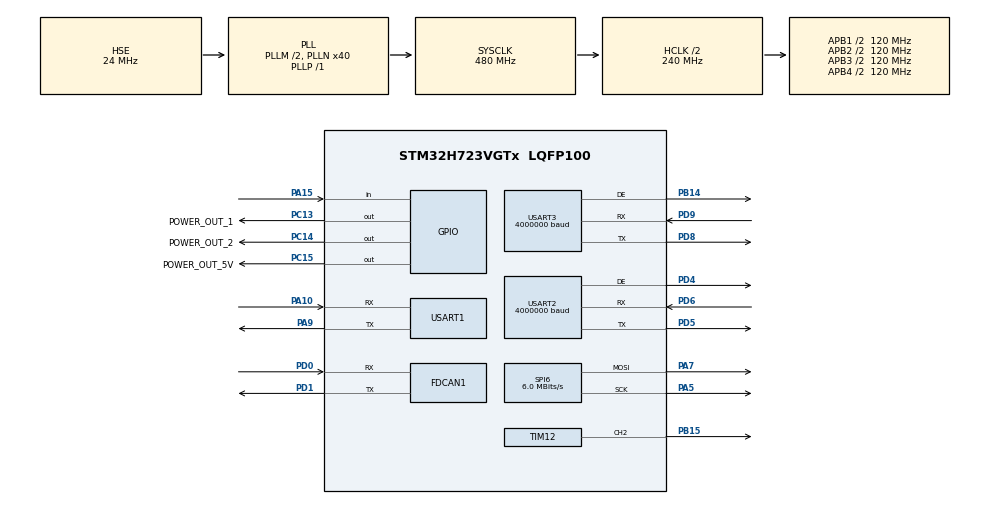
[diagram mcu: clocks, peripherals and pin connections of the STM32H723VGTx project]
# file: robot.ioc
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CORTEX_M7.default_mode_Activation=0
Dma.Request0=USART3_TX
Dma.Request1=USART2_TX
Dma.Request2=USART2_RX
Dma.Request3=USART3_RX
Dma.USART2_RX.2.Direction=DMA_PERIPH_TO_MEMORY
Dma.USART2_RX.2.EventEnable=DISABLE
Dma.USART2_RX.2.FIFOMode=DMA_FIFOMODE_DISABLE
Dma.USART2_RX.2.Instance=DMA1_Stream1
Dma.USART2_RX.2.MemDataAlignment=DMA_MDATAALIGN_BYTE
Dma.USART2_RX.2.MemInc=DMA_MINC_ENABLE
Dma.USART2_RX.2.Mode=DMA_NORMAL
Dma.USART2_RX.2.PeriphDataAlignment=DMA_PDATAALIGN_BYTE
Dma.USART2_RX.2.PeriphInc=DMA_PINC_DISABLE
Dma.USART2_RX.2.Polarity=HAL_DMAMUX_REQ_GEN_RISING
Dma.USART2_RX.2.Priority=DMA_PRIORITY_LOW
Dma.USART2_RX.2.RequestNumber=1
Dma.USART2_RX.2.SignalID=NONE
Dma.USART2_RX.2.SyncEnable=DISABLE
Dma.USART2_RX.2.SyncPolarity=HAL_DMAMUX_SYNC_NO_EVENT
Dma.USART2_RX.2.SyncRequestNumber=1
Dma.USART2_RX.2.SyncSignalID=NONE
Dma.USART2_TX.1.Direction=DMA_MEMORY_TO_PERIPH
Dma.USART2_TX.1.EventEnable=DISABLE
Dma.USART2_TX.1.FIFOMode=DMA_FIFOMODE_DISABLE
Dma.USART2_TX.1.Instance=DMA1_Stream3
Dma.USART2_TX.1.MemDataAlignment=DMA_MDATAALIGN_BYTE
Dma.USART2_TX.1.MemInc=DMA_MINC_ENABLE
Dma.USART2_TX.1.Mode=DMA_NORMAL
Dma.USART2_TX.1.PeriphDataAlignment=DMA_PDATAALIGN_BYTE
Dma.USART2_TX.1.PeriphInc=DMA_PINC_DISABLE
Dma.USART2_TX.1.Polarity=HAL_DMAMUX_REQ_GEN_RISING
Dma.USART2_TX.1.Priority=DMA_PRIORITY_LOW
Dma.USART2_TX.1.RequestNumber=1
Dma.USART2_TX.1.SignalID=NONE
Dma.USART2_TX.1.SyncEnable=DISABLE
Dma.USART2_TX.1.SyncPolarity=HAL_DMAMUX_SYNC_NO_EVENT
Dma.USART2_TX.1.SyncRequestNumber=1
Dma.USART2_TX.1.SyncSignalID=NONE
Dma.USART3_RX.3.Direction=DMA_PERIPH_TO_MEMORY
Dma.USART3_RX.3.EventEnable=DISABLE
Dma.USART3_RX.3.FIFOMode=DMA_FIFOMODE_DISABLE
Dma.USART3_RX.3.Instance=DMA2_Stream4
Dma.USART3_RX.3.MemDataAlignment=DMA_MDATAALIGN_BYTE
Dma.USART3_RX.3.MemInc=DMA_MINC_ENABLE
Dma.USART3_RX.3.Mode=DMA_NORMAL
Dma.USART3_RX.3.PeriphDataAlignment=DMA_PDATAALIGN_BYTE
Dma.USART3_RX.3.PeriphInc=DMA_PINC_DISABLE
Dma.USART3_RX.3.Polarity=HAL_DMAMUX_REQ_GEN_RISING
Dma.USART3_RX.3.Priority=DMA_PRIORITY_LOW
Dma.USART3_RX.3.RequestNumber=1
Dma.USART3_RX.3.SignalID=NONE
Dma.USART3_RX.3.SyncEnable=DISABLE
Dma.USART3_RX.3.SyncPolarity=HAL_DMAMUX_SYNC_NO_EVENT
Dma.USART3_RX.3.SyncRequestNumber=1
Dma.USART3_RX.3.SyncSignalID=NONE
Dma.USART3_TX.0.Direction=DMA_MEMORY_TO_PERIPH
Dma.USART3_TX.0.EventEnable=DISABLE
Dma.USART3_TX.0.FIFOMode=DMA_FIFOMODE_DISABLE
Dma.USART3_TX.0.Instance=DMA2_Stream1
Dma.USART3_TX.0.MemDataAlignment=DMA_MDATAALIGN_BYTE
Dma.USART3_TX.0.MemInc=DMA_MINC_ENABLE
Dma.USART3_TX.0.Mode=DMA_NORMAL
Dma.USART3_TX.0.PeriphDataAlignment=DMA_PDATAALIGN_BYTE
Dma.USART3_TX.0.PeriphInc=DMA_PINC_DISABLE
Dma.USART3_TX.0.Polarity=HAL_DMAMUX_REQ_GEN_RISING
Dma.USART3_TX.0.Priority=DMA_PRIORITY_LOW
Dma.USART3_TX.0.RequestNumber=1
Dma.USART3_TX.0.SignalID=NONE
Dma.USART3_TX.0.SyncEnable=DISABLE
Dma.USART3_TX.0.SyncPolarity=HAL_DMAMUX_SYNC_NO_EVENT
Dma.USART3_TX.0.SyncRequestNumber=1
Dma.USART3_TX.0.SyncSignalID=NONE
FDCAN1.CalculateBaudRateNominal=1000000
FDCAN1.CalculateTimeBitNominal=1000
FDCAN1.CalculateTimeQuantumNominal=25.0
FDCAN1.DataPrescaler=3
FDCAN1.DataSyncJumpWidth=10
FDCAN1.DataTimeSeg1=29
FDCAN1.DataTimeSeg2=10
FDCAN1.ExtFiltersNbr=0
FDCAN1.NominalPrescaler=3
FDCAN1.NominalSyncJumpWidth=10
FDCAN1.NominalTimeSeg1=29
FDCAN1.NominalTimeSeg2=10
FDCAN1.RxFifo0ElmtsNbr=4
FDCAN1.StdFiltersNbr=1
FDCAN1.TxFifoQueueElmtsNbr=4
FREERTOS.Tasks01=defaultTask,24,128,StartDefaultTask,Default,NULL,Dynamic,NULL,NULL;SupervisionTask,24,500,supervisionTask,Default,NULL,Dynamic,NULL,NULL;MotorTransTask,24,500,motorTransTask,Default,NULL,Dynamic,NULL,NULL
Mcu.Family=STM32H7
Mcu.Name=STM32H723VGTx
Mcu.Package=LQFP100
NVIC.DMA1_Stream1_IRQn=true\:5\:0\:false\:false\:true\:false\:false\:true\:true
NVIC.DMA1_Stream3_IRQn=true\:5\:0\:false\:false\:true\:false\:false\:true\:true
NVIC.DMA2_Stream1_IRQn=true\:5\:0\:false\:false\:true\:true\:false\:true\:true
NVIC.DMA2_Stream4_IRQn=true\:5\:0\:false\:false\:true\:false\:false\:true\:true
NVIC.FDCAN1_IT0_IRQn=true\:5\:0\:false\:false\:true\:true\:true\:true\:true
NVIC.PriorityGroup=NVIC_PRIORITYGROUP_4
NVIC.TIM6_DAC_IRQn=true\:15\:0\:false\:false\:true\:false\:false\:true\:true
NVIC.TimeBase=TIM6_DAC_IRQn
NVIC.TimeBaseIP=TIM6
NVIC.USART1_IRQn=true\:6\:0\:true\:false\:true\:true\:true\:true\:true
NVIC.USART2_IRQn=true\:5\:0\:true\:false\:true\:true\:true\:true\:true
NVIC.USART3_IRQn=true\:5\:0\:true\:false\:true\:true\:true\:true\:true
PA10.Mode=Asynchronous
PA10.Signal=USART1_RX
PA13(JTMS/SWDIO).Mode=Serial_Wire
PA13(JTMS/SWDIO).Signal=DEBUG_JTMS-SWDIO
PA14(JTCK/SWCLK).Mode=Serial_Wire
PA14(JTCK/SWCLK).Signal=DEBUG_JTCK-SWCLK
PA15(JTDI).GPIO_PuPd=GPIO_PULLUP
PA15(JTDI).Signal=GPIO_Input
PA5.GPIO_Speed=GPIO_SPEED_FREQ_VERY_HIGH
PA5.Mode=TX_Only_Simplex_Unidirect_Master
PA5.Signal=SPI6_SCK
PA7.GPIO_Speed=GPIO_SPEED_FREQ_VERY_HIGH
PA7.Mode=TX_Only_Simplex_Unidirect_Master
PA7.Signal=SPI6_MOSI
PA9.Mode=Asynchronous
PA9.Signal=USART1_TX
PB14.Mode=Hardware Flow Control (RS485)
PB14.Signal=USART3_DE
PB15.Signal=S_TIM12_CH2
PC13.GPIO_Label=POWER_OUT_1
PC13.GPIO_PuPd=GPIO_NOPULL
PC13.PinState=GPIO_PIN_SET
PC13.Signal=GPIO_Output
PC14-OSC32_IN.GPIO_Label=POWER_OUT_2
PC14-OSC32_IN.GPIO_ModeDefaultOutputPP=GPIO_MODE_OUTPUT_PP
PC14-OSC32_IN.GPIO_PuPd=GPIO_NOPULL
PC14-OSC32_IN.PinState=GPIO_PIN_SET
PC14-OSC32_IN.Signal=GPIO_Output
PC15-OSC32_OUT.GPIO_Label=POWER_OUT_5V
PC15-OSC32_OUT.GPIO_ModeDefaultOutputPP=GPIO_MODE_OUTPUT_PP
PC15-OSC32_OUT.GPIO_PuPd=GPIO_NOPULL
PC15-OSC32_OUT.PinState=GPIO_PIN_SET
PC15-OSC32_OUT.Signal=GPIO_Output
PD0.Mode=FDCAN_Activate
PD0.Signal=FDCAN1_RX
PD1.Mode=FDCAN_Activate
PD1.Signal=FDCAN1_TX
PD4.Mode=Hardware Flow Control (RS485)
PD4.Signal=USART2_DE
PD5.Mode=Asynchronous
PD5.Signal=USART2_TX
PD6.Mode=Asynchronous
PD6.Signal=USART2_RX
PD8.Mode=Asynchronous
PD8.Signal=USART3_TX
PD9.Mode=Asynchronous
PD9.Signal=USART3_RX
PH0-OSC_IN.Mode=HSE-External-Oscillator
PH0-OSC_IN.Signal=RCC_OSC_IN
PH1-OSC_OUT.Mode=HSE-External-Oscillator
PH1-OSC_OUT.Signal=RCC_OSC_OUT
ProjectManager.HeapSize=0x200
ProjectManager.StackSize=0x800
ProjectManager.TargetToolchain=MDK-ARM V5.27
RCC.ADCFreq_Value=48375000
RCC.APB1Freq_Value=120000000
RCC.APB2Freq_Value=120000000
RCC.APB3Freq_Value=120000000
RCC.APB4Freq_Value=120000000
RCC.CortexFreq_Value=480000000
RCC.D1PPRE=RCC_APB3_DIV2
RCC.D2PPRE1=RCC_APB1_DIV2
RCC.D2PPRE2=RCC_APB2_DIV2
RCC.D3PPRE=RCC_APB4_DIV2
RCC.DIVM1=2
RCC.DIVN1=40
RCC.DIVP1=1
RCC.DIVQ1=4
RCC.HCLKFreq_Value=240000000
RCC.HPRE=RCC_HCLK_DIV2
RCC.HSE_VALUE=24000000
RCC.PLLFRACN=0
RCC.PLLSourceVirtual=RCC_PLLSOURCE_HSE
RCC.SPI6CLockSelection=RCC_SPI6CLKSOURCE_HSE
RCC.SYSCLKFreq_VALUE=480000000
RCC.SYSCLKSource=RCC_SYSCLKSOURCE_PLLCLK
RCC.USBFreq_Value=120000000
SH.S_TIM12_CH2.0=TIM12_CH2,PWM Generation2 CH2
SPI6.BaudRatePrescaler=SPI_BAUDRATEPRESCALER_4
SPI6.CLKPhase=SPI_PHASE_2EDGE
SPI6.CLKPolarity=SPI_POLARITY_LOW
SPI6.CalculateBaudRate=6.0 MBits/s
SPI6.DataSize=SPI_DATASIZE_8BIT
SPI6.Direction=SPI_DIRECTION_2LINES_TXONLY
SPI6.FirstBit=SPI_FIRSTBIT_MSB
SPI6.Mode=SPI_MODE_MASTER
SPI6.VirtualType=VM_MASTER
TIM12.Channel-PWM\ Generation2\ CH2=TIM_CHANNEL_2
TIM12.Period=1000-1
TIM12.Prescaler=24-1
TIM12.Pulse-PWM\ Generation2\ CH2=0
USART1.VirtualMode-Asynchronous=VM_ASYNC
USART2.BaudRate=4000000
USART2.OverSampling=UART_OVERSAMPLING_8
USART2.VirtualMode-Asynchronous=VM_ASYNC
USART2.VirtualMode-Hardware\ Flow\ Control\ (RS485)=VM_ASYNC
USART3.BaudRate=4000000
USART3.OverSampling=UART_OVERSAMPLING_8
USART3.VirtualMode-Asynchronous=VM_ASYNC
USART3.VirtualMode-Hardware\ Flow\ Control\ (RS485)=VM_ASYNC
VP_FREERTOS_VS_CMSIS_V2.Mode=CMSIS_V2
VP_MEMORYMAP_VS_MEMORYMAP.Mode=CurAppReg
VP_SYS_VS_tim6.Mode=TIM6
board=custom

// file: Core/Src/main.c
/* USER CODE BEGIN Header */
/**
  ******************************************************************************
  * @file           : main.c
  * @brief          : Main program body
  ******************************************************************************
  * @attention
  *
  * Copyright (c) 2024 STMicroelectronics.
  * All rights reserved.
  *
  * This software is licensed under terms that can be found in the LICENSE file
  * in the root directory of this software component.
  * If no LICENSE file comes with this software, it is provided AS-IS.
  *
  ******************************************************************************
  */
/* USER CODE END Header */
#include "main.h"
#include "cmsis_os.h"
#include "dma.h"
#include "fdcan.h"
#include "memorymap.h"
#include "spi.h"
#include "tim.h"
#include "usart.h"
#include "gpio.h"

/* USER CODE BEGIN Includes */
#include "DRIVER_DWT.h"
#include "DRIVER_MOTOR.h"
#include "DRIVER_FDCAN.h"
/* USER CODE END Includes */

void SystemClock_Config(void);
void MX_FREERTOS_Init(void);

int main(void)
{

  /* MCU Configuration--------------------------------------------------------*/

  /* Reset of all peripherals, Initializes the Flash interface and the Systick. */
  HAL_Init();

  /* Configure the system clock */
  SystemClock_Config();

  /* Initialize all configured peripherals */
  MX_GPIO_Init();
  MX_DMA_Init();
  MX_SPI6_Init();
  MX_TIM12_Init();
  MX_USART3_UART_Init();
  MX_USART2_UART_Init();
  MX_USART1_UART_Init();
  MX_FDCAN1_Init();
  /* USER CODE BEGIN 2 */
	DWT_Init(480);
  BSP_FDCAN_Init();
  /* USER CODE END 2 */

  /* Init scheduler */
  osKernelInitialize();

  /* Call init function for freertos objects (in cmsis_os2.c) */
  MX_FREERTOS_Init();

  /* Start scheduler */
  osKernelStart();

  /* We should never get here as control is now taken by the scheduler */

  /* Infinite loop */
  while (1)
  {

  }
}

void SystemClock_Config(void)
{
  RCC_OscInitTypeDef RCC_OscInitStruct = {0};
  RCC_ClkInitTypeDef RCC_ClkInitStruct = {0};

  /** Supply configuration update enable
  */
  HAL_PWREx_ConfigSupply(PWR_LDO_SUPPLY);

  /** Configure the main internal regulator output voltage
  */
  __HAL_PWR_VOLTAGESCALING_CONFIG(PWR_REGULATOR_VOLTAGE_SCALE0);

  while(!__HAL_PWR_GET_FLAG(PWR_FLAG_VOSRDY)) {}

  /** Initializes the RCC Oscillators according to the specified parameters
  * in the RCC_OscInitTypeDef structure.
  */
  RCC_OscInitStruct.OscillatorType = RCC_OSCILLATORTYPE_HSE;
  RCC_OscInitStruct.HSEState = RCC_HSE_ON;
  RCC_OscInitStruct.PLL.PLLState = RCC_PLL_ON;
  RCC_OscInitStruct.PLL.PLLSource = RCC_PLLSOURCE_HSE;
  RCC_OscInitStruct.PLL.PLLM = 2;
  RCC_OscInitStruct.PLL.PLLN = 40;
  RCC_OscInitStruct.PLL.PLLP = 1;
  RCC_OscInitStruct.PLL.PLLQ = 4;
  RCC_OscInitStruct.PLL.PLLR = 2;
  RCC_OscInitStruct.PLL.PLLRGE = RCC_PLL1VCIRANGE_3;
  RCC_OscInitStruct.PLL.PLLVCOSEL = RCC_PLL1VCOWIDE;
  RCC_OscInitStruct.PLL.PLLFRACN = 0;
  if (HAL_RCC_OscConfig(&RCC_OscInitStruct) != HAL_OK)
  {
    Error_Handler();
  }

  /** Initializes the CPU, AHB and APB buses clocks
  */
  RCC_ClkInitStruct.ClockType = RCC_CLOCKTYPE_HCLK|RCC_CLOCKTYPE_SYSCLK
                              |RCC_CLOCKTYPE_PCLK1|RCC_CLOCKTYPE_PCLK2
                              |RCC_CLOCKTYPE_D3PCLK1|RCC_CLOCKTYPE_D1PCLK1;
  RCC_ClkInitStruct.SYSCLKSource = RCC_SYSCLKSOURCE_PLLCLK;
  RCC_ClkInitStruct.SYSCLKDivider = RCC_SYSCLK_DIV1;
  RCC_ClkInitStruct.AHBCLKDivider = RCC_HCLK_DIV2;
  RCC_ClkInitStruct.APB3CLKDivider = RCC_APB3_DIV2;
  RCC_ClkInitStruct.APB1CLKDivider = RCC_APB1_DIV2;
  RCC_ClkInitStruct.APB2CLKDivider = RCC_APB2_DIV2;
  RCC_ClkInitStruct.APB4CLKDivider = RCC_APB4_DIV2;

  if (HAL_RCC_ClockConfig(&RCC_ClkInitStruct, FLASH_LATENCY_3) != HAL_OK)
  {
    Error_Handler();
  }
}

void HAL_TIM_PeriodElapsedCallback(TIM_HandleTypeDef *htim)
{
  if (htim->Instance == TIM6) {
    HAL_IncTick();
  }
}

void Error_Handler(void)
{
  __disable_irq();
  while (1)
  {
  }
}

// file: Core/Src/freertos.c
/* USER CODE BEGIN Header */
/**
  ******************************************************************************
  * File Name          : freertos.c
  * Description        : Code for freertos applications
  ******************************************************************************
  * @attention
  *
  * Copyright (c) 2024 STMicroelectronics.
  * All rights reserved.
  *
  * This software is licensed under terms that can be found in the LICENSE file
  * in the root directory of this software component.
  * If no LICENSE file comes with this software, it is provided AS-IS.
  *
  ******************************************************************************
  */
/* USER CODE END Header */

#include "FreeRTOS.h"
#include "task.h"
#include "main.h"
#include "cmsis_os.h"

/* USER CODE BEGIN Includes */
#include "SUPERVISION.h"
#include "MOTOR.h"
/* USER CODE END Includes */

/* Definitions for defaultTask */
osThreadId_t defaultTaskHandle;
const osThreadAttr_t defaultTask_attributes = {
  .name = "defaultTask",
  .stack_size = 128 * 4,
  .priority = (osPriority_t) osPriorityNormal,
};
/* Definitions for SupervisionTask */
osThreadId_t SupervisionTaskHandle;
const osThreadAttr_t SupervisionTask_attributes = {
  .name = "SupervisionTask",
  .stack_size = 500 * 4,
  .priority = (osPriority_t) osPriorityNormal,
};
/* Definitions for MotorTransTask */
osThreadId_t MotorTransTaskHandle;
const osThreadAttr_t MotorTransTask_attributes = {
  .name = "MotorTransTask",
  .stack_size = 500 * 4,
  .priority = (osPriority_t) osPriorityNormal,
};

void StartDefaultTask(void *argument);
void supervisionTask(void *argument);
void motorTransTask(void *argument);

void MX_FREERTOS_Init(void); /* (MISRA C 2004 rule 8.1) */

void MX_FREERTOS_Init(void) {

  /* Create the thread(s) */
  /* creation of defaultTask */
  defaultTaskHandle = osThreadNew(StartDefaultTask, NULL, &defaultTask_attributes);

  /* creation of SupervisionTask */
  SupervisionTaskHandle = osThreadNew(supervisionTask, NULL, &SupervisionTask_attributes);

  /* creation of MotorTransTask */
  MotorTransTaskHandle = osThreadNew(motorTransTask, NULL, &MotorTransTask_attributes);

}

void StartDefaultTask(void *argument)
{
  /* USER CODE BEGIN StartDefaultTask */
  /* Infinite loop */
  for(;;)
  {
		if(HAL_GPIO_ReadPin(GPIOA, GPIO_PIN_15) == GPIO_PIN_RESET)
			driverBeepConifg.state = 2;

    osDelay(2);
  }
  /* USER CODE END StartDefaultTask */
}

void supervisionTask(void *argument)
{
  /* USER CODE BEGIN supervisionTask */
	supervisionDriverInit();
  /* Infinite loop */
  for(;;)
  {
		supervisionUpdataTask();
    osDelay(100);
  }
  /* USER CODE END supervisionTask */
}

void motorTransTask(void *argument)
{
  /* USER CODE BEGIN motorTransTask */

	motorDriverInit();
  /* Infinite loop */
  for(;;)
  {
		motorUpdataTask();
    osDelay(1);
  }
  /* USER CODE END motorTransTask */
}
